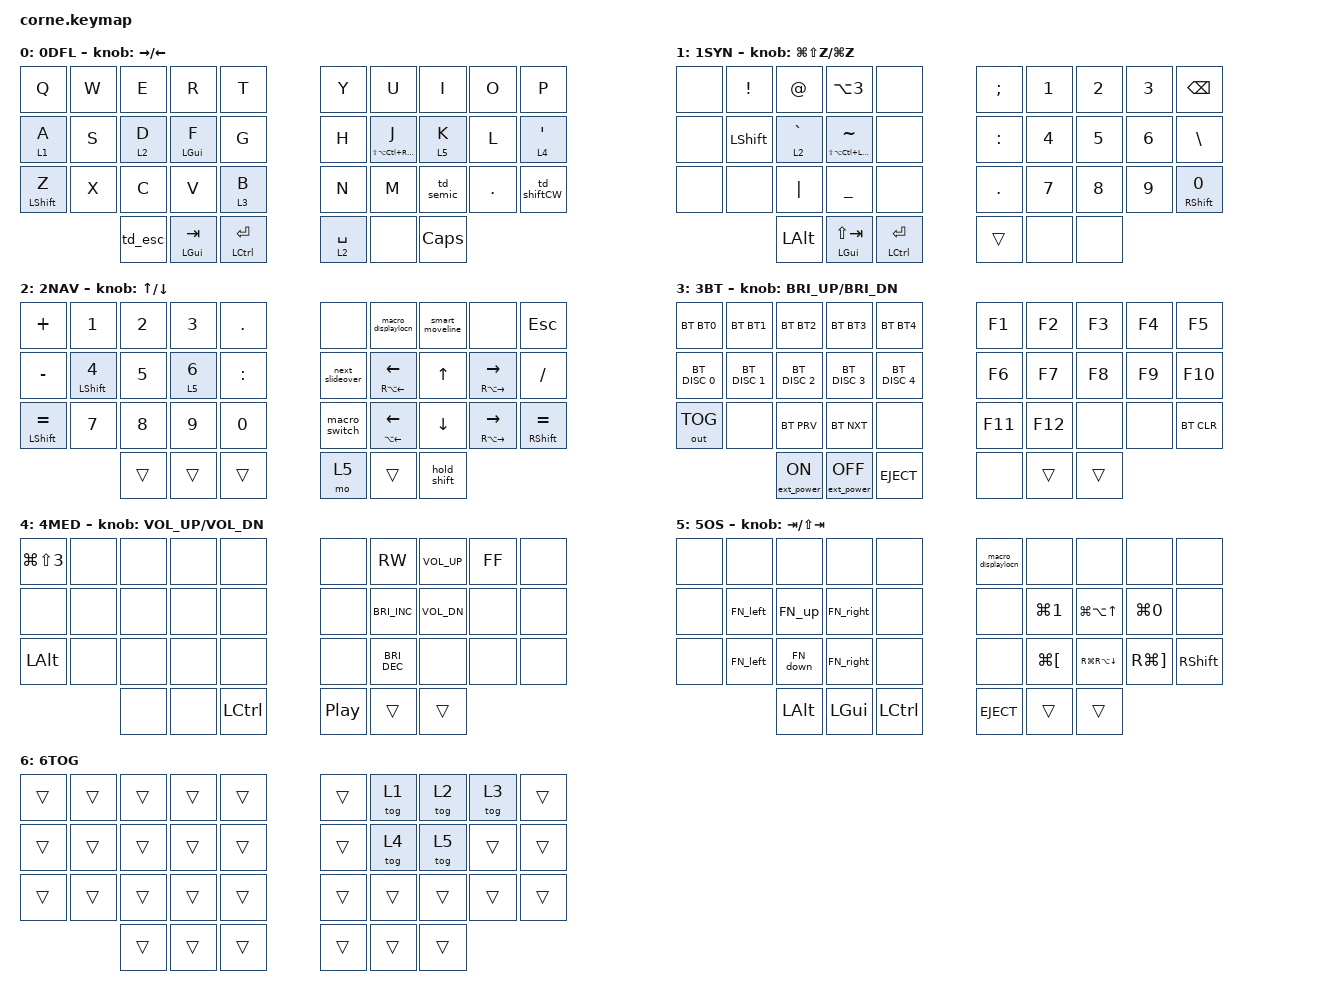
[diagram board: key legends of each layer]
/*
 * Copyright (c) 2020 The ZMK Contributors
 *
 * SPDX-License-Identifier: MIT
 */
// include <dt-bindings/zmk/backlight.h>

#include <dt-bindings/zmk/mouse.h>
#include <behaviors.dtsi>
#include <dt-bindings/zmk/bt.h>
#include <dt-bindings/zmk/ext_power.h>
#include <dt-bindings/zmk/keys.h>
#include <dt-bindings/zmk/outputs.h>

/ {
    chosen { zmk,matrix_transform = &five_column_transform; };
};

// include <dt-bindings/led/led.h>
/*           36 Keys
╭───────────────╮ ╭───────────────╮
│ 0  1  2  3  4 │ │ 5  6  7  8  9 │
│10 11 12 13 14 │ │15 16 17 18 19 │
│20 21 22 23 24 │ │25 26 27 28 29 │
╰────╮ 30 31 32 │ │33 34 35 ╭─────╯
     ╰──────────╯ ╰─────────╯         */

#define BT0 BT_SEL 0
#define BT1 BT_SEL 1
#define BT2 BT_SEL 2
#define BT3 BT_SEL 3
#define BT4 BT_SEL 4

// #define MO_TOG(layer) &mo_tog layer layer   // Macro to apply momentary-layer-on-hold/toggle-layer-on-tap to a specific layer
// &led_strip {
//    chain-length = <18>;
// };

&mt {
    tapping-term-ms = <500>;

    // retro-tap;
};

&lt { tapping-term-ms = <180>; };

&sk {
    release-after-ms = <3000>;
    quick-release;
};

&caps_word { continue-list = <UNDERSCORE MINUS SPACE BACKSPACE>; };

/ {
    combos {
        compatible = "zmk,combos";

        combo_lpar {
            timeout-ms = <100>;
            key-positions = <4 3>;
            bindings = <&kp LPAR>;
            layers = <0 1>;
        };

        combo_rpar {
            timeout-ms = <100>;
            key-positions = <6 5>;
            bindings = <&kp RPAR>;
            layers = <0 1 2>;
        };

        combo_lbkt {
            timeout-ms = <100>;
            key-positions = <13 14>;
            bindings = <&kp LBKT>;
            layers = <0 1 2>;
        };

        combo_rbkt {
            timeout-ms = <100>;
            key-positions = <15 16>;
            bindings = <&kp RBKT>;
            layers = <0 1>;
        };

        combo_lbrc {
            timeout-ms = <100>;
            key-positions = <23 24>;
            bindings = <&kp LBRC>;
            layers = <0 1 2>;
        };

        combo_rbrc {
            timeout-ms = <100>;
            key-positions = <25 26>;
            bindings = <&kp RBRC>;
            layers = <0 1 2>;
        };

        combo_dash {
            timeout-ms = <200>;
            key-positions = <3 13>;
            layers = <0 2>;
            bindings = <&kp MINUS>;
        };

        combo_undersc {
            timeout-ms = <200>;
            key-positions = <13 23>;
            layers = <0 1 2>;
            bindings = <&kp LS(MINUS)>;
        };

        combo_emdash {
            timeout-ms = <50>;
            layers = <0 1 2>;
            key-positions = <14 4>;
            bindings = <&kp LS(LA(MINUS))>;
        };

        combo_plus {
            timeout-ms = <50>;
            layers = <0 1 2>;
            key-positions = <14 24>;
            bindings = <&kp LS(EQUAL)>;
        };

        bt_clr {
            bindings = <&bt BT_CLR_ALL>;
            key-positions = <20 21 22>;
            layers = <3>;
        };

        drafts_bullet {
            bindings = <&kp LC(B)>;
            key-positions = <12 22>;
            timeout-ms = <200>;
            layers = <0>;
        };

        mo_L6 {
            bindings = <&mo 6>;
            key-positions = <1 2 3>;
        };

        cmb_slideover {
            bindings = <&macro_slideover>;
            key-positions = <15 25>;
            layers = <0 2>;
        };

        cmb_undo {
            bindings = <&kp LG(Z)>;
            key-positions = <11 1>;
            layers = <0>;
            timeout-ms = <200>;
        };

        cmb_l5 {
            bindings = <&mo 5>;
            key-positions = <12 13>;
            timeout-ms = <200>;
            layers = <0 1 2>;
        };

        bsp_word {
            bindings = <&bsp_word>;
            key-positions = <6 16>;
            timeout-ms = <200>;
            layers = <0 2>;
        };

        cmb_colon {
            bindings = <&kp COLON>;
            key-positions = <16 26>;
            timeout-ms = <200>;
            layers = <0>;
        };

        cmb_que {
            bindings = <&mod_qmarkcolon>;
            key-positions = <27 17>;
            timeout-ms = <200>;
            layers = <0>;
        };

        bsp_del {
            bindings = <&bspc_del>;
            key-positions = <7 17>;
            timeout-ms = <200>;
            layers = <0>;
        };

        cmb_stickyshift {
            bindings = <&sk LEFT_SHIFT>;
            key-positions = <2 12>;
            layers = <0 1 2>;
        };

        combo_dqt {
            bindings = <&kp DQT>;
            key-positions = <19 29>;
            layers = <0>;
            timeout-ms = <200>;
        };

        combo_a {
            bindings = <&kp LS(A)>;
            key-positions = <10 20>;
            layers = <0>;
            timeout-ms = <200>;
        };

        cmb_pp {
            bindings = <&kp C_PLAY_PAUSE>;
            key-positions = <7 17>;
            timeout-ms = <200>;
            layers = <4>;
        };

        cmb_navtog {
            bindings = <&tog 2>;
            key-positions = <28 27 26>;
            timeout-ms = <200>;
            layers = <0 2>;
        };

        cmb_slash {
            bindings = <&mod_slash>;
            key-positions = <18 28>;
            timeout-ms = <150>;
            layers = <0>;
        };

        cmb_altdash {
            bindings = <&kp LA(MINUS)>;
            key-positions = <3 13>;
            timeout-ms = <200>;
            layers = <1>;
        };

        cmb_bspLine {
            bindings = <&kp RG(BACKSPACE)>;
            key-positions = <18 8>;
            layers = <0>;
        };

        cmb_shiftlock {
            bindings = <&hold_shift>;
            key-positions = <17 27>;
            layers = <2>;
        };

        cmb_moveline {
            bindings = <&smart_moveline>;
            key-positions = <17 7>;
            timeout-ms = <200>;
            layers = <2>;
        };

        cmb_arrwordleft {
            bindings = <&ArrowSelect RS(RA(LEFT)) RA(LEFT)>;
            key-positions = <16 26>;
            layers = <2>;
            require-prior-idle-ms = <225>;
        };

        cmb_arrwordright {
            bindings = <&ArrowSelect RA(RS(RIGHT)) RA(RIGHT)>;
            key-positions = <18 28>;
            layers = <2>;
            require-prior-idle-ms = <225>;
        };

        cmb_ltphold {
            bindings = <&left_taphold RS(RG(LEFT_ARROW)) RG(LEFT)>;
            key-positions = <17 16>;
            layers = <0 2>;
        };

        cmb_rtphold {
            bindings = <&rght_taphold RS(RG(RIGHT)) RG(RIGHT)>;
            key-positions = <17 18>;
            layers = <0 2>;
        };

        ldup {
            bindings = <&left_taphold RS(RG(LEFT_ARROW)) RG(LEFT)>;
            key-positions = <26 27>;
            layers = <0 2>;
        };

        rdup {
            bindings = <&rght_taphold RS(RG(RIGHT)) RG(RIGHT)>;
            key-positions = <28 27>;
            layers = <0 2>;
        };
    };

    behaviors {
        hold_shift: hold_shift {
            compatible = "zmk,behavior-smart-toggle";
            #binding-cells = <0>;
            bindings = <&kp RSHIFT>, <&none>;

            ignored-key-positions = <16 17 18 26 27 28>;
        };

        smart_moveline: smart_moveline {
            compatible = "zmk,behavior-smart-toggle";
            #binding-cells = <0>;
            bindings = <&kp RG(RALT)>, <&none>;

            ignored-key-positions = <7 17 27>;
        };

        td_esc: tap_dance_esc {
            compatible = "zmk,behavior-tap-dance";
            label = "TAP_DANCE_ESC";
            #binding-cells = <0>;
            tapping-term-ms = <200>;
            bindings = <&kp LALT>, <&kp ESC>;
        };

        macro_slideover: macro_slideover {
            label = "ZM_macro_slideover";
            compatible = "zmk,behavior-macro";
            #binding-cells = <0>;
            bindings =
                <&macro_press>,
                <&kp CAPS>,
                <&macro_tap>,
                <&kp BSLH>,
                <&macro_release>,
                <&kp CAPS>;
        };

        macro_windows: macro_windows {
            label = "ZM_macro_windows";
            compatible = "zmk,behavior-macro";
            #binding-cells = <0>;
            bindings =
                <&macro_press>,
                <&kp CAPS>,
                <&macro_tap>,
                <&kp DOWN>,
                <&macro_release>,
                <&kp CAPS>;
        };

        macro_switch: macro_switch {
            label = "ZM_macro_switch";
            compatible = "zmk,behavior-macro";
            #binding-cells = <0>;
            bindings =
                <&macro_press>,
                <&kp CAPS>,
                <&macro_tap>,
                <&kp GRAVE>,
                <&macro_release>,
                <&kp CAPS>;
        };

        FN_up: FN_up {
            compatible = "zmk,behavior-macro";
            label = "FN_UP";
            #binding-cells = <0>;
            bindings =
                <&macro_press>,
                <&kp CAPS>,
                <&macro_tap>,
                <&kp UP_ARROW>,
                <&macro_release>,
                <&kp CAPS>;
        };

        FN_down: FN_down {
            compatible = "zmk,behavior-macro";
            label = "FN_DOWN";
            #binding-cells = <0>;
            bindings =
                <&macro_press>,
                <&kp CAPS>,
                <&macro_tap>,
                <&kp DOWN>,
                <&macro_release>,
                <&kp CAPS>;
        };

        FN_left: FN_left {
            compatible = "zmk,behavior-macro";
            label = "FN_LEFT";
            #binding-cells = <0>;
            bindings =
                <&macro_press>,
                <&kp CAPS>,
                <&macro_tap>,
                <&kp LEFT>,
                <&macro_release>,
                <&kp CAPS>;
        };

        FN_right: FN_right {
            compatible = "zmk,behavior-macro";
            label = "FN_RIGHT";
            #binding-cells = <0>;
            bindings =
                <&macro_press>,
                <&kp CAPS>,
                <&macro_tap>,
                <&kp RIGHT>,
                <&macro_release>,
                <&kp CAPS>;
        };

        next_slideover: next_slideover {
            compatible = "zmk,behavior-macro";
            label = "NEXT_SLIDEOVER";
            #binding-cells = <0>;
            bindings =
                <&macro_press>,
                <&kp CAPS &kp LCMD>,
                <&macro_tap>,
                <&kp BSLH>,
                <&macro_release>,
                <&kp CAPS &kp LCMD>;
        };

        macro_displaylocn: macro_displaylocn {
            compatible = "zmk,behavior-macro";
            label = "MACRO_DISPLAYLOCN";
            #binding-cells = <0>;
            bindings =
                <&macro_press>,
                <&kp CAPS &kp LC(BACKSLASH)>,
                <&macro_release>;
        };

        hm: homerow_mods {
            compatible = "zmk,behavior-hold-tap";
            label = "HOMEROW_MODS";
            #binding-cells = <2>;
            tapping-term-ms = <275>;
            quick-tap-ms = <0>;
            flavor = "tap-preferred";
            bindings = <&kp>, <&kp>;
        };

        bspc_del: backspace_delete {
            compatible = "zmk,behavior-mod-morph";
            label = "BACKSPACE_DELETE";
            #binding-cells = <0>;
            bindings = <&kp BACKSPACE>, <&kp DELETE>;

            mods = <(MOD_LSFT|MOD_RSFT)>;
        };

        ht_hl: holdtap_homerowlayer {
            compatible = "zmk,behavior-hold-tap";
            label = "HOLDTAP_HOMELAY";
            #binding-cells = <2>;
            tapping-term-ms = <225>;
            flavor = "tap-preferred";
            require-prior-idle-ms = <125>;
            bindings = <&mo>, <&kp>;

            quick-tap-ms = <125>;
        };

        ht_shift: ht_shift {
            compatible = "zmk,behavior-hold-tap";
            label = "HT_SHIFT";
            bindings = <&kp>, <&kp>;

            #binding-cells = <2>;
            tapping-term-ms = <130>;
            flavor = "tap-preferred";
        };

        bsp_word: bsp_word {
            compatible = "zmk,behavior-mod-morph";
            label = "BSP_WORD";
            bindings = <&kp LA(BACKSPACE)>, <&kp LA(DELETE)>;

            #binding-cells = <0>;
            mods = <(MOD_LSFT|MOD_RSFT)>;
        };

        td_semic: td_semic {
            compatible = "zmk,behavior-tap-dance";
            label = "TD_SEMIC";
            #binding-cells = <0>;
            bindings = <&kp COMMA>, <&kp SEMI>;

            tapping-term-ms = <250>;
        };

        td_shiftCW: td_shiftCW {
            compatible = "zmk,behavior-tap-dance";
            label = "TD_SHIFTCW";
            #binding-cells = <0>;
            bindings = <&sk RIGHT_SHIFT>, <&caps_word>;

            tapping-term-ms = <300>;
        };

        left_arrow: left_arrow {
            compatible = "zmk,behavior-tap-dance";
            label = "LEFT_ARROW";
            #binding-cells = <0>;
            bindings = <&kp LEFT>, <&kp LG(LEFT_ARROW)>;

            tapping-term-ms = <225>;
        };

        right_arr: right_arr {
            compatible = "zmk,behavior-tap-dance";
            label = "RIGHT_ARR";
            #binding-cells = <0>;
            bindings = <&kp RIGHT>, <&kp LG(RIGHT)>;

            tapping-term-ms = <225>;
        };

        left_taphold: left_taphold {
            compatible = "zmk,behavior-hold-tap";
            label = "LEFT_TAPHOLD";
            bindings = <&kp>, <&kp>;

            #binding-cells = <2>;
            tapping-term-ms = <250>;
            flavor = "tap-preferred";
        };

        rght_taphold: rght_taphold {
            compatible = "zmk,behavior-hold-tap";
            label = "RGHT_TAPHOLD";
            bindings = <&kp>, <&kp>;

            #binding-cells = <2>;
            tapping-term-ms = <250>;
            flavor = "tap-preferred";
        };

        ht_hyper: ht_hyper {
            compatible = "zmk,behavior-hold-tap";
            label = "HT_HYPER";
            #binding-cells = <2>;
            tapping-term-ms = <225>;
            flavor = "tap-preferred";
            require-prior-idle-ms = <125>;
            quick-tap-ms = <125>;
            bindings = <&sk>, <&kp>;
        };

        mod_slash: mod_slash {
            compatible = "zmk,behavior-mod-morph";
            label = "MOD_SLASH";
            bindings = <&kp KP_SLASH>, <&kp BACKSLASH>;

            #binding-cells = <0>;
            mods = <(MOD_LSFT|MOD_RSFT)>;
        };

        pht_L2shift: pht_L2shift {
            compatible = "zmk,behavior-hold-tap";
            label = "PHT_L2SHIFT";
            bindings = <&kp>, <&kp>;

            #binding-cells = <2>;
            tapping-term-ms = <120>;
            flavor = "tap-preferred";
            hold-trigger-key-positions = <30 31 32 5 15 25 5 6 7 8 9 15 16 17 18 19 25 26 27 28 29>;
        };

        ArrowSelect: ArrowSelect {
            compatible = "zmk,behavior-hold-tap";
            label = "ARROWSELECT";
            bindings = <&kp>, <&kp>;

            #binding-cells = <2>;
            tapping-term-ms = <280>;
            flavor = "tap-preferred";
        };

        mod_qmarkcolon: mod_qmarkcolon {
            compatible = "zmk,behavior-mod-morph";
            label = "MOD_QMARKCOLON";
            bindings = <&kp QUESTION>, <&kp COLON>;

            #binding-cells = <0>;
            mods = <(MOD_LSFT|MOD_RSFT)>;
        };
    };

    macros {
    };

    keymap {
        compatible = "zmk,keymap";

        default {
            display-name = "0DFL";
            bindings = <
&kp Q               &kp W  &kp E       &kp R           &kp T            &kp Y        &kp U                              &kp I       &kp O    &kp P
&ht_hl 1 A          &kp S  &ht_hl 2 D  &hm LEFT_GUI F  &kp G            &kp H        &ht_hyper LS(LA(LC(RIGHT_GUI))) J  &ht_hl 5 K  &kp L    &ht_hl 4 APOS
&ht_shift LSHIFT Z  &kp X  &kp C       &kp V           &ht_hl 3 B       &kp N        &kp M                              &td_semic   &kp DOT  &td_shiftCW
                           &td_esc     &mt LGUI TAB    &mt LCTRL RET    &lt 2 SPACE  &none                              &kp CAPS
            >;

            sensor-bindings = <&inc_dec_kp RIGHT LEFT>;
            label = "0DFL";
        };

        alt_nums {
            display-name = "1SYN";
            bindings = <
&none  &kp EXCL        &kp AT_SIGN     &kp LA(NUMBER_3)                      &none                     &kp SEMI    &kp NUMBER_1  &kp N2  &kp N3  &kp BACKSPACE
&none  &kp LEFT_SHIFT  &ht_hl 2 GRAVE  &ht_hyper LS(LA(LC(LEFT_GUI))) TILDE  &none                     &kp COLON   &kp N4        &kp N5  &kp N6  &kp BACKSLASH
&none  &none           &kp PIPE        &kp UNDER                             &none                     &kp PERIOD  &kp N7        &kp N8  &kp N9  &ht_shift RIGHT_SHIFT N0
                       &kp LEFT_ALT    &mt LGUI LS(TAB)                      &mt LEFT_CONTROL ENTER    &trans      &none         &none
            >;

            sensor-bindings = <&inc_dec_kp LG(LS(Z)) LG(Z)>;
            label = "1 SYN";
        };

        num_nav {
            display-name = "2NAV";
            bindings = <
&kp PLUS                    &kp NUMBER_1                &kp NUMBER_2  &kp NUMBER_3       &kp PERIOD    &none            &macro_displaylocn           &smart_moveline  &none                          &kp ESC
&kp MINUS                   &pht_L2shift LEFT_SHIFT N4  &kp N5        &ht_hl 5 NUMBER_6  &kp COLON     &next_slideover  &left_taphold RA(LEFT) LEFT  &kp UP           &rght_taphold RA(RIGHT) RIGHT  &kp SLASH
&ht_shift LEFT_SHIFT EQUAL  &kp N7                      &kp N8        &kp N9             &kp N0        &macro_switch    &left_taphold LA(LEFT) LEFT  &kp DOWN         &rght_taphold RA(RIGHT) RIGHT  &ht_shift RSHFT EQUAL
                                                        &trans        &trans             &trans        &mo 5            &trans                       &hold_shift
            >;

            sensor-bindings = <&inc_dec_kp UP DOWN>;
            label = "2 NAV";
        };

        bt_fn {
            display-name = "3BT";
            bindings = <
&bt BT0        &bt BT1        &bt BT2           &bt BT3            &bt BT4          &kp F1   &kp F2   &kp F3  &kp F4  &kp F5
&bt BT_DISC 0  &bt BT_DISC 1  &bt BT_DISC 2     &bt BT_DISC 3      &bt BT_DISC 4    &kp F6   &kp F7   &kp F8  &kp F9  &kp F10
&out OUT_TOG   &none          &bt BT_PRV        &bt BT_NXT         &none            &kp F11  &kp F12  &none   &none   &bt BT_CLR
                              &ext_power EP_ON  &ext_power EP_OFF  &kp C_EJECT      &none    &trans   &trans
            >;

            sensor-bindings = <&inc_dec_kp C_BRI_UP C_BRI_DN>;
            label = "3 BT";
        };

        media {
            display-name = "4MED";
            bindings = <
&kp LG(LS(NUMBER_3))  &none  &none  &none  &none               &none     &kp C_RW       &kp C_VOL_UP  &kp C_FF  &none
&none                 &none  &none  &none  &none               &none     &kp C_BRI_INC  &kp C_VOL_DN  &none     &none
&kp LEFT_ALT          &none  &none  &none  &none               &none     &kp C_BRI_DEC  &none         &none     &none
                             &none  &none  &kp LEFT_CONTROL    &kp C_PP  &trans         &trans
            >;

            sensor-bindings = <&inc_dec_kp C_VOL_UP C_VOL_DN>;
            label = "4 Md";
        };

        OS_app {
            display-name = "5OS";
            bindings = <
&none  &none     &none         &none         &none        &macro_displaylocn  &none                 &none             &none         &none
&none  &FN_left  &FN_up        &FN_right     &none        &none               &kp LG(N1)            &kp LG(LA(UP))    &kp LG(N0)    &none
&none  &FN_left  &FN_down      &FN_right     &none        &none               &kp LG(LEFT_BRACKET)  &kp RG(RA(DOWN))  &kp RG(RBKT)  &kp RIGHT_SHIFT
                 &kp LEFT_ALT  &kp LEFT_GUI  &kp LCTRL    &kp C_EJECT         &trans                &trans
            >;

            sensor-bindings = <&inc_dec_kp TAB LS(TAB)>;
            label = "5 OS";
        };

        Toggle {
            display-name = "6TOG";
            bindings = <
&trans  &trans  &trans  &trans  &trans    &trans  &tog 1  &tog 2  &tog 3  &trans
&trans  &trans  &trans  &trans  &trans    &trans  &tog 4  &tog 5  &trans  &trans
&trans  &trans  &trans  &trans  &trans    &trans  &trans  &trans  &trans  &trans
                &trans  &trans  &trans    &trans  &trans  &trans
            >;

            label = "6 TG";
        };
    };
};
